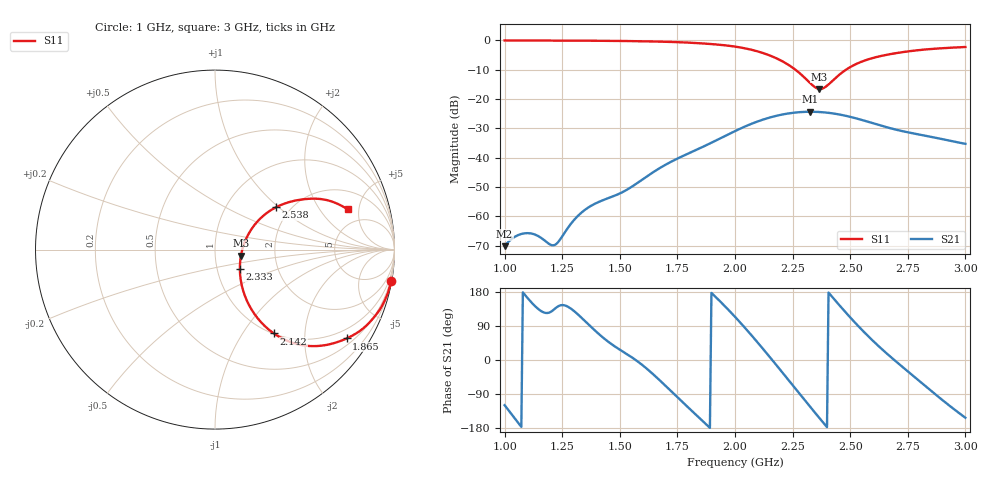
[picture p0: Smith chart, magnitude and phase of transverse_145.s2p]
! TOUCHSTONE file generated by CST MICROWAVE STUDIO
! Date and time: Tue Mar 11 13:57:09 2025
! Project name: transverse.cst
! Parameters = {Fracture=1; B=10; D=160; F=5; Feed=2.85625; L=100; M=10; R=0.384908; S=1; Theta=180; length=57.125; wave=114.25}
! Header version: 2024
! Port assignment regex: !\s*Touchstone port\s*([0-9]+)\s*=\s*(CST MWS port|CST DES external port|CST DES block port)\s*(.+)\s* \(\"(.*)\"\)(\s*mode\s*([0-9]+))?.*
! Touchstone port assignment:
! Touchstone port 1 = CST MWS port 1 ("")
! Touchstone port 2 = CST MWS port 2 ("")
# GHz S MA R 50
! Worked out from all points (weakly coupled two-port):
!   304 points, 1 GHz to 3 GHz, reference 50 ohm
!   highest |S21| = -24.33 dB at 2.327 GHz (marker M1); lowest = -70.2 dB at 1 GHz (marker M2)
!   lowest |S11| = -16.6 dB at 2.366 GHz (marker M3), VSWR 1.35, Z = 66.7 - j4.62 ohm
!   |S11| at or under -10 dB: 2.262 GHz to 2.482 GHz (219.7 MHz wide, 9.26 % of centre)
!   S12 and S22 are empty: the file has one direction only
!   S11 on the Smith chart (normalised r, x): 1 GHz: 0, -11; 1.865 GHz: 0.69, -3.13; 2.142 GHz: 1.01, -1.40; 2.333 GHz: 1.28, -0.29; 2.538 GHz: 1.69, +0.97; 3 GHz: 3.39, +3.78
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1  0.998 -10.0  0.0003096 -119.3  0 0.0  0 0.0
1.0462  0.9972 -10.7  0.0004519 -155.9  0 0.0  0 0.0
1.09901  0.9961 -11.4  0.0005166 164.0  0 0.0  0 0.0
1.21782  0.9945 -13.3  0.0003253 135.1  0 0.0  0 0.0
1.29703  0.9918 -14.8  0.000827 131.4  0 0.0  0 0.0
1.33663  0.9898 -15.6  0.001184 109.9  0 0.0  0 0.0
1.39604  0.9867 -16.9  0.00167 75.7  0 0.0  0 0.0
1.52805  0.976 -20.3  0.002798 16.6  0 0.0  0 0.0
1.66667  0.9544 -24.7  0.006408 -49.8  0 0.0  0 0.0
1.86469  0.8849 -34.0  0.01558 -163.9  0 0.0  0 0.0
2.0033  0.7805 -43.5  0.02881 111.8  0 0.0  0 0.0
2.14191  0.5709 -54.9  0.04726 14.5  0 0.0  0 0.0
2.24092  0.3634 -58.5  0.0575 -59.4  0 0.0  0 0.0
2.32673  0.1864 -41.8  0.06073 -123.8  0 0.0  0 0.0
2.33333  0.1763 -38.2  0.06072 -128.7  0 0.0  0 0.0
2.33993  0.1674 -34.1  0.06067 -133.6  0 0.0  0 0.0
2.36634  0.1484 -13.2  0.0601 -153.1  0 0.0  0 0.0
2.39274  0.161 8.6  0.05895 -172.5  0 0.0  0 0.0
2.45875  0.2715 32.8  0.05395 140.5  0 0.0  0 0.0
2.53795  0.4156 34.7  0.04544 87.7  0 0.0  0 0.0
2.66997  0.5797 29.1  0.03211 11.2  0 0.0  0 0.0
3  0.7721 16.9  0.01724 -152.4  0 0.0  0 0.0
